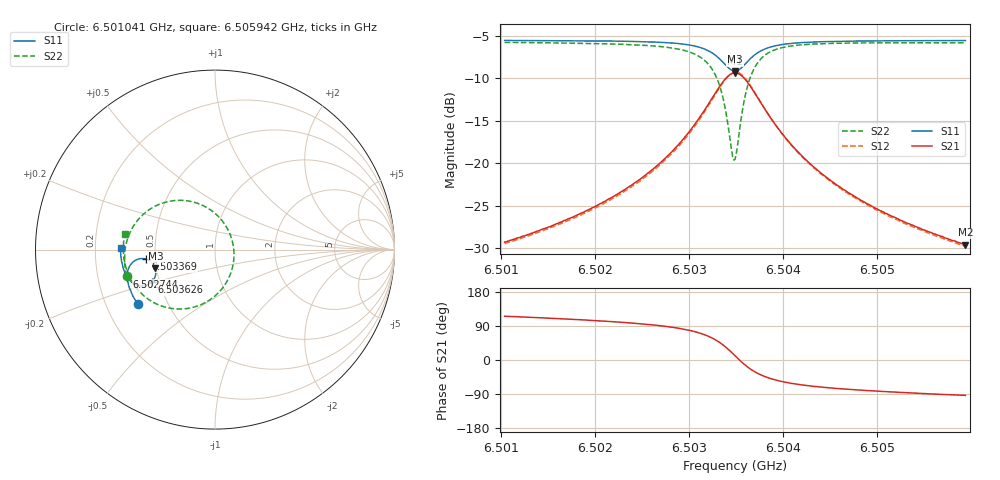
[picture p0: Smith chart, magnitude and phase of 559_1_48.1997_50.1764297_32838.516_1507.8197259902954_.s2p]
#  HZ  S  RI  R  50.00
! Rohde & Schwarz Vector Network Analyzer
! Rohde-Schwarz,ZNB20-2Port,1311601062101988,3.16
! Created: UTC 3/20/2024, 12:01:06 PM
! freq[Hz]  re:S11  im:S11  re:S21  im:S21  re:S12  im:S12  re:S22  im:S22
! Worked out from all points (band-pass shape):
!   401 points, 6.501041 GHz to 6.505942 GHz, reference 50 ohm
!   highest |S21| = -9.37 dB at 6.503492 GHz (marker M1); lowest = -29.6 dB at 6.505942 GHz (marker M2)
!   |S21| within 3 dB of the highest: 6.503247 GHz to 6.503737 GHz (489.8 kHz wide, 0.00753 % of centre)
!   lowest |S11| = -9.2 dB at 6.503492 GHz (marker M3), VSWR 2.07, Z = 24.6 - j5.78 ohm
!   |S11| at or under -10 dB: nowhere
!   |S22| runs from -19.6 to -5.8 dB; largest |S21 - S12| = 0.012
!   S11 on the Smith chart (normalised r, x): 6.501041 GHz: 0.34, -0.28; 6.502744 GHz: 0.33, -0.14; 6.503369 GHz: 0.44, -0.05; 6.503626 GHz: 0.45, -0.19; 6.505942 GHz: 0.31, +0.01
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6.5010412e9  -0.4304 -0.3043  -0.0148 0.0311  -0.0132 0.0311  -0.4919 -0.1473
6.5018621e9  -0.4651 -0.2428  -0.0141 0.0491  -0.0117 0.0488  -0.5036 -0.0587
6.5023155e9  -0.4806 -0.202  -0.011 0.0691  -0.00801 0.068  -0.4997 0.00705
6.502683e9  -0.4889 -0.1603  -0.00153 0.0991  0.00208 0.0968  -0.4791 0.0827
6.5027443e9  -0.4895 -0.152  0.00176 0.1064  0.0054 0.1038  -0.4722 0.0987
6.5029648e9  -0.486 -0.117  0.0239 0.1419  0.0275 0.1377  -0.4259 0.1697
6.5031241e9  -0.4712 -0.0847  0.0633 0.178  0.0661 0.1724  -0.3493 0.2333
6.5032712e9  -0.4332 -0.0549  0.145 0.2071  0.1457 0.2008  -0.2002 0.2747
6.5033692e9  -0.3865 -0.052  0.2367 0.1905  0.2369 0.1861  -0.0416 0.2319
6.5034549e9  -0.3435 -0.0812  0.3156 0.1159  0.3181 0.1119  0.0843 0.0851
6.5034794e9  -0.3353 -0.0956  0.3291 0.0839  0.3325 0.0792  0.1014 0.0248
6.5034917e9  -0.3323 -0.1033  0.3335 0.0669  0.3371 0.0618  0.1052 -0.00677
6.5035162e9  -0.3295 -0.1197  0.3369 0.0322  0.3411 0.0257  0.1031 -0.0704
6.503553e9  -0.3315 -0.1439  0.3296 -0.0182  0.3334 -0.027  0.076 -0.1597
6.5036265e9  -0.3537 -0.1813  0.2828 -0.0951  0.283 -0.1065  -0.0343 -0.2837
6.5037367e9  -0.3997 -0.2016  0.1955 -0.1409  0.1904 -0.1507  -0.2113 -0.3308
6.503896e9  -0.4471 -0.1922  0.1112 -0.1369  0.1041 -0.1422  -0.3631 -0.2822
6.5040676e9  -0.4751 -0.1706  0.0654 -0.1159  0.0591 -0.1182  -0.4372 -0.2155
6.5043126e9  -0.4962 -0.1408  0.0346 -0.0906  0.0299 -0.0911  -0.4813 -0.1417
6.5046802e9  -0.5119 -0.1018  0.0152 -0.0665  0.0119 -0.0662  -0.5042 -0.0661
6.5051335e9  -0.5212 -0.0593  0.00533 -0.0495  0.00289 -0.0487  -0.5106 -0.000449
6.5059422e9  -0.5264 0.00958  -0.00203 -0.0332  -0.00337 -0.0324  -0.5033 0.0867
